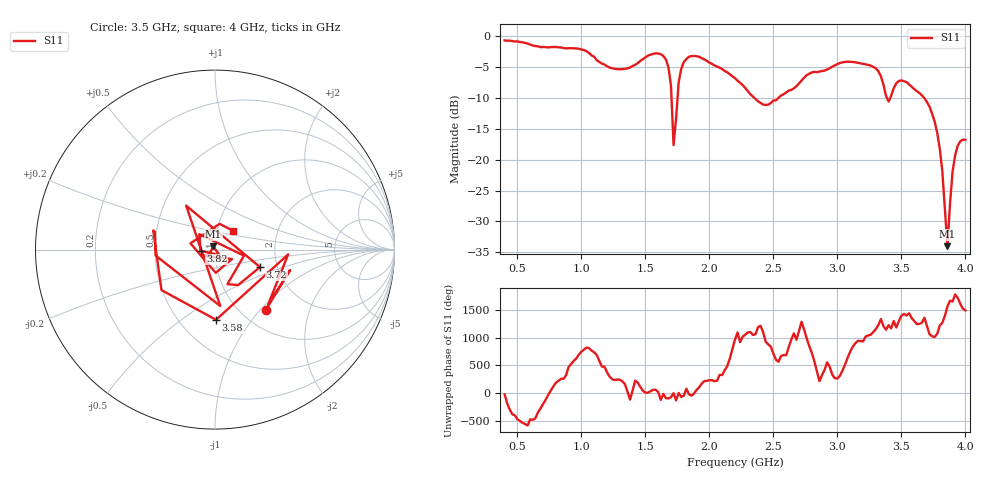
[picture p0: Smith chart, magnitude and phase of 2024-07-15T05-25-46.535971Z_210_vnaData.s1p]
!Created with skrf (http://scikit-rf.org).
# Hz S RI R 50.0
!freq ReS11 ImS11
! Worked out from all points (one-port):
!   181 points, 400 MHz to 4 GHz, reference 50 ohm
!   lowest |S11| = -34.0 dB at 3.86 GHz (marker M1), VSWR 1.04, Z = 49 + j1.71 ohm
!   |S11| at or under -10 dB: 1.704 GHz to 1.751 GHz (47.02 MHz wide, 2.72 % of centre); 2.353 GHz to 2.538 GHz (185.1 MHz wide, 7.57 % of centre); 3.68 GHz to end of sweep (the widest 3 of 4)
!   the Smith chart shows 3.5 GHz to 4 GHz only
!   S11 on the Smith chart (normalised r, x): 3.5 GHz: 1.29, -1.07; 3.58 GHz: 0.74, -0.69; 3.72 GHz: 1.63, -0.34; 3.82 GHz: 0.85, -0.01; 4 GHz: 1.19, +0.26
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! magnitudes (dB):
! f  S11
! 400 MHz  -0.7
! 860 MHz  -1.9
! 1.3 GHz  -5.3
! 1.58 GHz  -2.7
! 1.66 GHz  -3.7
! 1.7 GHz  -8.0
! 1.72 GHz  -17.6
! 1.76 GHz  -7.4
! 1.8 GHz  -4.2
! 1.86 GHz  -3.2
! 2.2 GHz  -6.8
! 2.42 GHz  -11.1
! 2.66 GHz  -8.4
! 2.8 GHz  -5.8
! 3.1 GHz  -4.1
! 3.3 GHz  -5.2
! 3.4 GHz  -10.6
! 3.5 GHz  -7.1
! 3.56 GHz  -7.8
! 3.58 GHz  -8.2
! 3.72 GHz  -11.4
! 3.78 GHz  -15.6
! 3.82 GHz  -21.9
! 3.86 GHz  -34.0
! 3.9 GHz  -21.9
! 3.92 GHz  -19.3
! 3.96 GHz  -17.0
! 4 GHz  -16.8
